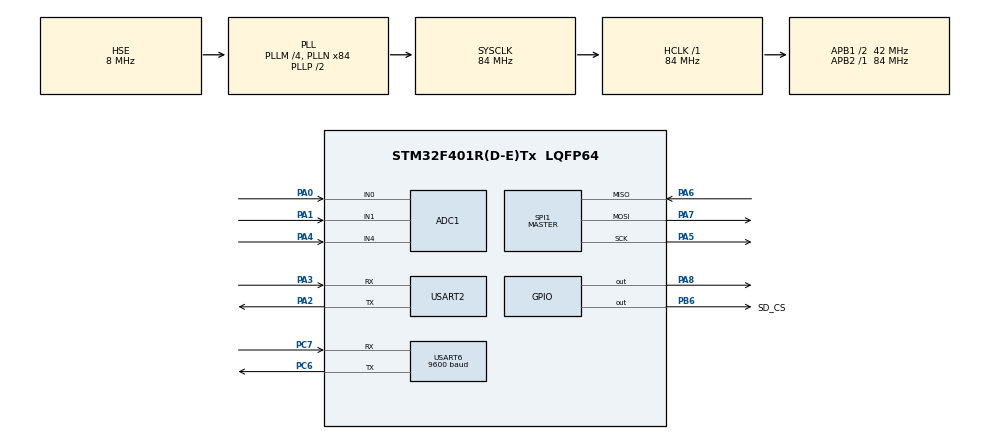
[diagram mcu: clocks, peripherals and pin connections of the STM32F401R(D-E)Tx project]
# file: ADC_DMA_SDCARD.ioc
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ADC1.Channel-1\#ChannelRegularConversion=ADC_CHANNEL_0
ADC1.Channel-2\#ChannelRegularConversion=ADC_CHANNEL_1
ADC1.Channel-3\#ChannelRegularConversion=ADC_CHANNEL_4
ADC1.ContinuousConvMode=DISABLE
ADC1.DMAContinuousRequests=ENABLE
ADC1.EOCSelection=ADC_EOC_SEQ_CONV
ADC1.ExternalTrigConv=ADC_EXTERNALTRIGCONV_T3_TRGO
ADC1.InjNumberOfConversion=0
ADC1.NbrOfConversion=3
ADC1.NbrOfConversionFlag=1
ADC1.Rank-2\#ChannelRegularConversion=2
ADC1.Rank-3\#ChannelRegularConversion=3
ADC1.SamplingTime-1\#ChannelRegularConversion=ADC_SAMPLETIME_56CYCLES
ADC1.SamplingTime-2\#ChannelRegularConversion=ADC_SAMPLETIME_56CYCLES
ADC1.SamplingTime-3\#ChannelRegularConversion=ADC_SAMPLETIME_56CYCLES
ADC1.ScanConvMode=ENABLE
ADC1.master=1
Dma.ADC1.0.Direction=DMA_PERIPH_TO_MEMORY
Dma.ADC1.0.FIFOMode=DMA_FIFOMODE_DISABLE
Dma.ADC1.0.Instance=DMA2_Stream0
Dma.ADC1.0.MemDataAlignment=DMA_MDATAALIGN_WORD
Dma.ADC1.0.MemInc=DMA_MINC_ENABLE
Dma.ADC1.0.Mode=DMA_CIRCULAR
Dma.ADC1.0.PeriphDataAlignment=DMA_PDATAALIGN_WORD
Dma.ADC1.0.PeriphInc=DMA_PINC_DISABLE
Dma.ADC1.0.Priority=DMA_PRIORITY_LOW
Dma.Request0=ADC1
FATFS._FS_LOCK=5
FATFS._FS_TIMEOUT=1000
FATFS._MAX_SS=4096
FATFS._USE_LFN=1
Mcu.Family=STM32F4
Mcu.Name=STM32F401R(D-E)Tx
Mcu.Package=LQFP64
NVIC.ADC_IRQn=true\:0\:0\:false\:false\:true\:true\:true\:true
NVIC.DMA2_Stream0_IRQn=true\:0\:0\:false\:false\:true\:false\:true\:true
NVIC.PriorityGroup=NVIC_PRIORITYGROUP_0
PA0-WKUP.Signal=ADCx_IN0
PA1.Signal=ADCx_IN1
PA13.Mode=Serial_Wire
PA13.Signal=SYS_JTMS-SWDIO
PA14.Mode=Serial_Wire
PA14.Signal=SYS_JTCK-SWCLK
PA2.Mode=Asynchronous
PA2.Signal=USART2_TX
PA3.Mode=Asynchronous
PA3.Signal=USART2_RX
PA4.Signal=ADCx_IN4
PA5.Mode=Full_Duplex_Master
PA5.Signal=SPI1_SCK
PA6.Mode=Full_Duplex_Master
PA6.Signal=SPI1_MISO
PA7.Mode=Full_Duplex_Master
PA7.Signal=SPI1_MOSI
PA8.Signal=GPIO_Output
PB6.GPIO_Label=SD_CS
PB6.GPIO_Speed=GPIO_SPEED_FREQ_HIGH
PB6.PinState=GPIO_PIN_SET
PB6.Signal=GPIO_Output
PC6.Mode=Asynchronous
PC6.Signal=USART6_TX
PC7.Mode=Asynchronous
PC7.Signal=USART6_RX
PH0\ -\ OSC_IN.Mode=HSE-External-Oscillator
PH0\ -\ OSC_IN.Signal=RCC_OSC_IN
PH1\ -\ OSC_OUT.Mode=HSE-External-Oscillator
PH1\ -\ OSC_OUT.Signal=RCC_OSC_OUT
ProjectManager.HeapSize=0x200
ProjectManager.StackSize=0x400
ProjectManager.TargetToolchain=STM32CubeIDE
RCC.48MHZClocksFreq_Value=24000000
RCC.AHBFreq_Value=84000000
RCC.APB1CLKDivider=RCC_HCLK_DIV2
RCC.APB1Freq_Value=42000000
RCC.APB1TimFreq_Value=84000000
RCC.APB2Freq_Value=84000000
RCC.APB2TimFreq_Value=84000000
RCC.CortexFreq_Value=84000000
RCC.HCLKFreq_Value=84000000
RCC.HSE_VALUE=8000000
RCC.HSI_VALUE=16000000
RCC.LSE_VALUE=32768
RCC.PLLM=4
RCC.PLLN=84
RCC.PLLQ=7
RCC.PLLSourceVirtual=RCC_PLLSOURCE_HSE
RCC.SYSCLKFreq_VALUE=84000000
RCC.SYSCLKSource=RCC_SYSCLKSOURCE_PLLCLK
RCC.VCOOutputFreq_Value=168000000
SH.ADCx_IN0.0=ADC1_IN0,IN0
SH.ADCx_IN1.0=ADC1_IN1,IN1
SH.ADCx_IN4.0=ADC1_IN4,IN4
SPI1.BaudRatePrescaler=SPI_BAUDRATEPRESCALER_16
SPI1.Direction=SPI_DIRECTION_2LINES
SPI1.Mode=SPI_MODE_MASTER
SPI1.VirtualType=VM_MASTER
TIM3.Period=100-1
TIM3.Prescaler=840-1
TIM3.TIM_MasterOutputTrigger=TIM_TRGO_UPDATE
USART2.VirtualMode=VM_ASYNC
USART6.BaudRate=9600
USART6.VirtualMode=VM_ASYNC
VP_FATFS_VS_Generic.Mode=User_defined
VP_TIM3_VS_ClockSourceINT.Mode=Internal
board=NUCLEO-F401RE

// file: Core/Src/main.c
/* USER CODE BEGIN Header */
/**
  ******************************************************************************
  * @file           : main.c
  * @brief          : Main program body
  ******************************************************************************
  * @attention
  *
  * Copyright (c) 2023 STMicroelectronics.
  * All rights reserved.
  *
  * This software is licensed under terms that can be found in the LICENSE file
  * in the root directory of this software component.
  * If no LICENSE file comes with this software, it is provided AS-IS.
  *
  ******************************************************************************
  */
/* USER CODE END Header */
#include "main.h"
#include "fatfs.h"

/* USER CODE BEGIN Includes */
#include <string.h>
#include <stdio.h>
#include <stdarg.h>
#include "fatfs_sd.h"
#include "string.h"
#define ARM_MATH_CM4
#include "arm_math.h"
/* USER CODE END Includes */

/* USER CODE BEGIN PD */

#define SampleSize 12288
#define BufferSize 2048

/* USER CODE END PD */

ADC_HandleTypeDef hadc1;
DMA_HandleTypeDef hdma_adc1;

SPI_HandleTypeDef hspi1;

TIM_HandleTypeDef htim3;

UART_HandleTypeDef huart2;
UART_HandleTypeDef huart6;

/* USER CODE BEGIN PV */

#define ADC_VAL_SIZE 24
uint32_t adcVal[ADC_VAL_SIZE];
uint32_t adcFlush[ADC_VAL_SIZE];
double buffer[BufferSize];
unsigned long count=0;
volatile char read_flag=0;
volatile char dist_flag=0;

FATFS fs;
FATFS *pfs;
FIL fil1,fil2,fil3,rawDataFile;
FRESULT fresult;

int bufferIndex = 0;

int fftbufferIndex = 0;
#define FFT_BUFFER_SIZE 2048
#define SAMPLING_RATE 1000
arm_rfft_fast_instance_f32 fftHandler;
float32_t fftBuffIn[FFT_BUFFER_SIZE];
float32_t fftBuffOut[FFT_BUFFER_SIZE];
float32_t outputfft_mag_xAxis[FFT_BUFFER_SIZE/2];
float32_t outputfft_mag_yAxis[FFT_BUFFER_SIZE/2];
float32_t outputfft_mag_zAxis[FFT_BUFFER_SIZE/2];
float32_t outputfft_mag_R[FFT_BUFFER_SIZE/2];
uint8_t fftFlag=0;

/* USER CODE END PV */

void SystemClock_Config(void);
static void MX_GPIO_Init(void);
static void MX_DMA_Init(void);
static void MX_USART2_UART_Init(void);
static void MX_SPI1_Init(void);
static void MX_ADC1_Init(void);
static void MX_USART6_UART_Init(void);
static void MX_TIM3_Init(void);

/* USER CODE BEGIN 0 */

void unlinkFile(const char *fileName) {
 FRESULT  fresult = f_unlink(fileName);
    if (fresult != FR_OK) {
    	send_uart("%s not found\r\n", fileName);
    }
}

double calculateAverage(const double *values, int size) {
    if (size <= 0) {
        return 0.0;  // Return 0 for an empty array or invalid size
    }
    double sum = 0.0;
    for (int i = 0; i < size; i++) {
        sum += values[i];
    }
    return sum / size;
}

void send_uart(const char *format, ...) {
    va_list args;
    va_start(args, format);
    char buffer[1024];
    int len = vsnprintf(buffer, sizeof(buffer), format, args);
    if (len >= 0) {
       HAL_UART_Transmit(&huart2, (uint8_t*)buffer, len, 200);
    }
    va_end(args);
}

void writeToFile(FIL* file, uint32_t* buffer, int size) {
    char fileBuffer[1024];
    char intBuffer[6];
    int counter = 0;
    char* fbPtr = &fileBuffer[0];
    memset(fileBuffer, 0, 1024);
    memset(intBuffer, 0, 6);

    for (int i = 0; i < size; i ++) {
        int c = snprintf(intBuffer, sizeof(intBuffer), "%d\n", (int)buffer[i]);
        if (counter + c > 1024) {
            f_puts(fileBuffer, file);
            counter = 0;
            memset(fileBuffer, 0, 1024);
        }
        memcpy(&fileBuffer[counter], intBuffer, c);
        counter += c;
        fbPtr += c;
    }
    if (counter > 0) {
        f_puts(fileBuffer, file);

 }
}
void distributeDataToFiles(FIL* rawDataFile, FIL* file1, FIL* file2, FIL* file3) {
    FIL* files[3] = {file1, file2, file3};
    char fileBuffers[3][1024];
    int counters[3] = {0, 0, 0};
    char intBuffer[6];

    for (int i = 0; i < 3; i++) {
        memset(fileBuffers[i], 0, 1024);
    }

    char line[12];
    int fileIndex = 0;

    while (f_gets(line, sizeof(line), rawDataFile)) {
        int c = snprintf(intBuffer, sizeof(intBuffer), "%s", line);
        if (counters[fileIndex] + c > 1024) {
            f_puts(fileBuffers[fileIndex], files[fileIndex]);
            counters[fileIndex] = 0;
            memset(fileBuffers[fileIndex], 0, 1024);
        }
        memcpy(&fileBuffers[fileIndex][counters[fileIndex]], intBuffer, c);
        counters[fileIndex] += c;

        fileIndex = (fileIndex + 1) % 3;
    }

    for (int i = 0; i < 3; i++) {
        if (counters[i] > 0) {
            f_puts(fileBuffers[i], files[i]);
        }
    }
}

void HAL_ADC_ConvCpltCallback(ADC_HandleTypeDef* hadc)
 {
	read_flag = 1;
	memcpy(adcFlush,adcVal,ADC_VAL_SIZE*sizeof(uint32_t));
	//HAL_GPIO_TogglePin(GPIOA, GPIO_PIN_8);
 }

void processAndSaveData(const char *inputFileName, const char *outputFileName, double *buffer, int bufferSize, double *totalAverage) {
    FRESULT fresult;
    FIL inputFile, outputFile;
    char line[20];
    int bufferIndex = 0;
    int iterationCount = 0;

    fresult = f_open(&inputFile, inputFileName, FA_READ);
    if (fresult != FR_OK) {
        send_uart("Error opening input file for reading.\r\n");
        return;
    }

    fresult = f_open(&outputFile, outputFileName, FA_CREATE_ALWAYS | FA_WRITE);
    if (fresult != FR_OK) {
        send_uart("Error opening output file for writing.\r\n");
        f_close(&inputFile);
        return;
    }

    while (f_gets(line, sizeof(line), &inputFile) != NULL) {
        double currentSample;
        if (sscanf(line, "%lf", &currentSample) == 1) {
            buffer[bufferIndex] = currentSample;
            bufferIndex++;

            if (bufferIndex == bufferSize) {
                *totalAverage += calculateAverage(buffer, bufferSize);
                bufferIndex = 0;
                iterationCount=iterationCount+1;
            }
        }
    }

    *totalAverage /= iterationCount;

    f_lseek(&inputFile, 0);

    while (f_gets(line, sizeof(line), &inputFile) != NULL) {
        double value;
        if (sscanf(line, "%lf", &value) == 1) {
            double diff = value - *totalAverage;
            snprintf(buffer, bufferSize, "%.3f\n", diff);
            f_puts(buffer, &outputFile);
        }
    }

    f_close(&inputFile);
    f_close(&outputFile);
}

void fftResults(const char *data_file, const char *fft_file, float *outputfft_mag, float *fftBuffIn, float *fftBuffOut, const char *axis) {

 FIL fil1, fil2;
 FRESULT fresult;
 fresult = f_open(&fil1, data_file, FA_OPEN_ALWAYS | FA_READ);
 if (fresult != FR_OK) {
 send_uart("Error opening data file for reading.\r\n");
 return;
 	 }
 	 fresult = f_open(&fil2, fft_file, FA_CREATE_ALWAYS | FA_WRITE);
 	 if (fresult != FR_OK) {
 		 send_uart("Error opening FFT file for writing.\r\n");
 		 f_close(&fil1);
 		 return;
 	 }
 	 char line[20];
 	 int fftbufferIndex = 0;
 	 int dataCount = 0;
 	 while (f_gets(line, sizeof(line), &fil1) != NULL && dataCount < FFT_BUFFER_SIZE) {
 		 double currentfftSample;
 		 if (sscanf(line, "%lf", &currentfftSample) == 1) {
 			 fftBuffIn[fftbufferIndex] = currentfftSample;
 			 fftbufferIndex++;
 			 dataCount++;
 			 if (fftbufferIndex == FFT_BUFFER_SIZE) {
 				 // Perform FFT
 				 arm_rfft_fast_f32(&fftHandler, fftBuffIn, fftBuffOut, 0);
 				 arm_cmplx_mag_f32(fftBuffOut, outputfft_mag, FFT_BUFFER_SIZE / 2);
 				 char fftline[50];
 				 for (int i = 0; i < FFT_BUFFER_SIZE / 2; i++) {
 					 snprintf(fftline, sizeof(fftline), "frequency %.2f: %.2f\n", ((float32_t)(i * SAMPLING_RATE) / FFT_BUFFER_SIZE), outputfft_mag[i]);
 					 f_puts(fftline, &fil2);
 				 }
 				 // Calculate the frequency indices for the range 7 Hz to 75 Hz
 				 float startIndex = (float)(4 * FFT_BUFFER_SIZE / SAMPLING_RATE);
 				 float endIndex = (float)(75 * FFT_BUFFER_SIZE / SAMPLING_RATE);
 				 // Ensure the indices are within bounds
 				 if (startIndex < 0) startIndex = 0;
 				 if (endIndex > FFT_BUFFER_SIZE / 2) endIndex = FFT_BUFFER_SIZE / 2;
 				 // Find the peak value within the specified frequency range (7 to 75 Hz)
 				 float peakVal = 0.0;
 				 int peakIndex = 0;
 				 for (int i = startIndex; i <= endIndex; i++) {
 					 float curVal = outputfft_mag[i];
 					 if (curVal > peakVal) {
 						 peakVal = curVal;
 						 peakIndex = i;
 					 }
 				 }
 				 float peakFrequency = (float32_t)(peakIndex * SAMPLING_RATE) / FFT_BUFFER_SIZE;
 				 // Log the peak value via UART
 				 send_uart("Peak Value for %s: %.3f at Frequency: %.3f Hz\r\n", axis, peakVal, peakFrequency);
 				 // Format the LoRa transmission message
 				 char loraMessage[200];
 				 snprintf(loraMessage, sizeof(loraMessage), "AT+TEST=TXLRSTR,\"%s Peak: %.3f Hz, Value: %.3f\"", axis, peakFrequency, peakVal);
 				 // Send the message via LoRaWAN
 				 sendATCommand(loraMessage);
 				 fftbufferIndex = 0; // Reset buffer index for next FFT
 			 }
 		 }
 	 }
 	 // Close both files
 	 f_close(&fil1);
 	 f_close(&fil2);
	}
void generate_resultant(const char *data_file1, const char *data_file2, const char *add_file) {
    FIL fil1, fil2, add_fil;
    FRESULT fresult;

    // Open the first data file for reading
    fresult = f_open(&fil1, data_file1, FA_OPEN_ALWAYS | FA_READ);
    if (fresult != FR_OK) {
        send_uart("Error opening X-Axis.\r\n");
        return;
    }

    // Open the second data file for reading
    fresult = f_open(&fil2, data_file2, FA_OPEN_ALWAYS | FA_READ);
    if (fresult != FR_OK) {
        send_uart("Error opening Y-Axis.\r\n");
        f_close(&fil1);
        return;
    }

    // Open the third data file for reading
//    fresult = f_open(&fil3, data_file3, FA_OPEN_ALWAYS | FA_READ);
//    if (fresult != FR_OK) {
//        send_uart("Error opening Z-Axis.\r\n");
//        f_close(&fil1);
//        f_close(&fil2);
//        return;
//    }

    // Open the resultant file for writing
    fresult = f_open(&add_fil, add_file, FA_OPEN_ALWAYS | FA_WRITE);
    if (fresult != FR_OK) {
        send_uart("Error opening Resultant file for writing.\r\n");
        f_close(&fil1);
        f_close(&fil2);
   //     f_close(&fil3);
        return;
    }

    char line1[50], line2[50] /*line3[50]*/;
    double mag1, mag2/* mag3*/;

    while (f_gets(line1, sizeof(line1), &fil1) != NULL && f_gets(line2, sizeof(line2), &fil2) != NULL /*&& f_gets(line3, sizeof(line3), &fil3) != NULL*/) {

        sscanf(line1, "%lf", &mag1);
        sscanf(line2, "%lf", &mag2);
//        sscanf(line3, "%lf", &mag3);

        // Calculate and format sum of magnitudes
        double add_mag = sqrt(mag1*mag1 + mag2*mag2/* + mag3*mag3*/);

        char add_mag_str[20]; // Adjust size as needed to accommodate formatted output
        snprintf(add_mag_str, sizeof(add_mag_str), "%.2f\n", (double)add_mag); // Convert double to string with formatting
        f_puts(add_mag_str, &add_fil);
        if (fresult != FR_OK) {
            send_uart("Error writing to resultant.txt.\r\n");
        }
    }

    // Close all files
    f_close(&fil1);
    f_close(&fil2);
//    f_close(&fil3);
    f_close(&add_fil);
}
void sendATCommand(char* command) {
 // Transmit the command to the Wio E5 module via UART6
 HAL_UART_Transmit(&huart6, (uint8_t *)command, strlen(command), HAL_MAX_DELAY);
 // Also print the transmitted command via UART2 for debugging
 HAL_UART_Transmit(&huart2, (uint8_t *)"Transmitted via LoRa: ", strlen("Transmitted via LoRa: "), HAL_MAX_DELAY);
 HAL_UART_Transmit(&huart2, (uint8_t *)command, strlen(command), HAL_MAX_DELAY);
 HAL_UART_Transmit(&huart2, (uint8_t *)"\r\n", strlen("\r\n"), HAL_MAX_DELAY); // Add newline for better readability
}
/* USER CODE END 0 */

int main(void)
{

  /* MCU Configuration--------------------------------------------------------*/

  /* Reset of all peripherals, Initializes the Flash interface and the Systick. */
  HAL_Init();

  /* Configure the system clock */
  SystemClock_Config();

  /* Initialize all configured peripherals */
  MX_GPIO_Init();
  MX_DMA_Init();
  MX_USART2_UART_Init();
  MX_SPI1_Init();
  MX_FATFS_Init();
  MX_ADC1_Init();
  MX_USART6_UART_Init();
  MX_TIM3_Init();
  /* USER CODE BEGIN 2 */
  HAL_Delay(1000);
  sendATCommand("AT+MODE=TEST\r\n"); // Set to LoRa P2P mode
  sendATCommand("AT+FREQ=868000000\r\n"); // Set frequency to 868 MHz (Europe)
  sendATCommand("AT+POWER=14\r\n"); // Set power to 14 dBm
  sendATCommand("AT+PARAMETER=7,7,1,4\r\n"); // Set SF7, BW 125kHz, CR 4/5, Preamble 4

    //Start ADC after timer
  HAL_ADC_Start_DMA(&hadc1, adcVal, ADC_VAL_SIZE);
  HAL_TIM_Base_Start(&htim3);
  arm_rfft_fast_init_f32(&fftHandler, FFT_BUFFER_SIZE);

  fresult = f_mount(&fs, "", 0);
     	  if (fresult != FR_OK) {
     		  send_uart("SD card MOUNT FAILED...\r\n");
     	  } else {
     		  send_uart("\n\rSD card MOUNTED...\r\n");

     		  fresult = f_open(&rawDataFile, "rawData.txt", FA_OPEN_ALWAYS | FA_READ | FA_WRITE);
     		  send_uart("rawData.txt created.\r\n");

  /* USER CODE END 2 */

  /* Infinite loop */
  /* USER CODE BEGIN WHILE */
  while (1)
  {

	  if (read_flag)
	  {
		  writeToFile(&rawDataFile, adcFlush, ADC_VAL_SIZE);
		  count+=ADC_VAL_SIZE;
		  read_flag = 0;
	  }
	    if (count >= SampleSize)
	    {
	    	HAL_ADC_Stop_DMA(&hadc1);
	    	HAL_TIM_Base_Stop(&htim3);
	    	f_close(&rawDataFile);
	    	send_uart("Data acquisition complete!\r\n");
	    	dist_flag = 1;
	    	if (dist_flag){
	    		fresult = f_open(&rawDataFile, "rawData.txt",FA_READ);

	    		fresult = f_open(&fil1, "xAxis.txt", FA_OPEN_ALWAYS | FA_READ | FA_WRITE);
	    		send_uart("xAxis.txt created.\r\n");

	    		fresult = f_open(&fil2, "yAxis.txt", FA_OPEN_ALWAYS | FA_READ | FA_WRITE);
	    		send_uart("yAxis.txt created.\r\n");

	    		fresult = f_open(&fil3, "zAxis.txt", FA_OPEN_ALWAYS | FA_READ | FA_WRITE);
	    		send_uart("zAxis.txt created.\r\n");
	    		distributeDataToFiles(&rawDataFile, &fil1, &fil2, &fil3);
	    		f_close(&rawDataFile);
	    		f_close(&fil1);
	    		f_close(&fil2);
	    		f_close(&fil3);
	    	}

	    	dist_flag=0;
	    	generate_resultant("xAxis.txt", "yAxis.txt"/*, "zAxis.txt"*/, "Resultant.txt");
	    	double totalAverage1 = 0.0;
	    	processAndSaveData("xAxis.txt", "xAxisMWF.txt", buffer, BufferSize, &totalAverage1);
	    	double totalAverage2 = 0.0;
	    	processAndSaveData("yAxis.txt", "yAxisMWF.txt", buffer, BufferSize, &totalAverage2);
	    	double totalAverage3 = 0.0;
	    	processAndSaveData("zAxis.txt", "zAxisMWF.txt", buffer, BufferSize, &totalAverage3);
	    	double totalAverage4 = 0.0;
	    	processAndSaveData("Resultant.txt", "ResultantMWF.txt", buffer, BufferSize, &totalAverage4);
	    	send_uart("FFT preparation complete!\r\n");
	    	fftFlag=1;
				  }

	    if (fftFlag) {
	    	send_uart("Starting FFT and then the transmission...\r\n");
	    	send_uart("Performing FFT on X_Axis!\r\n");
	    	fftResults("xAxisMWF.txt", "xFFT.txt", outputfft_mag_xAxis, fftBuffIn, fftBuffOut, "X_Axis");
	    	send_uart("Performing FFT on Y_Axis!\r\n");
	    	fftResults("yAxisMWF.txt", "yFFT.txt", outputfft_mag_yAxis, fftBuffIn, fftBuffOut, "Y_Axis");
	    	send_uart("Performing FFT on Z_Axis!\r\n");
	    	fftResults("zAxisMWF.txt", "zFFT.txt", outputfft_mag_zAxis, fftBuffIn, fftBuffOut, "Z_Axis");
	    	send_uart("Performing FFT on Resultant!\r\n");
	    	fftResults("ResultantMWF.txt", "rFFT.txt", outputfft_mag_R, fftBuffIn, fftBuffOut, "Resultant");
	    	send_uart("Programme complete!!\r\n");
	    	break;
	  		}
  }
  	  	  }
    /* USER CODE END WHILE */

}

void SystemClock_Config(void)
{
  RCC_OscInitTypeDef RCC_OscInitStruct = {0};
  RCC_ClkInitTypeDef RCC_ClkInitStruct = {0};

  /** Configure the main internal regulator output voltage
  */
  __HAL_RCC_PWR_CLK_ENABLE();
  __HAL_PWR_VOLTAGESCALING_CONFIG(PWR_REGULATOR_VOLTAGE_SCALE2);

  /** Initializes the RCC Oscillators according to the specified parameters
  * in the RCC_OscInitTypeDef structure.
  */
  RCC_OscInitStruct.OscillatorType = RCC_OSCILLATORTYPE_HSE;
  RCC_OscInitStruct.HSEState = RCC_HSE_ON;
  RCC_OscInitStruct.PLL.PLLState = RCC_PLL_ON;
  RCC_OscInitStruct.PLL.PLLSource = RCC_PLLSOURCE_HSE;
  RCC_OscInitStruct.PLL.PLLM = 4;
  RCC_OscInitStruct.PLL.PLLN = 84;
  RCC_OscInitStruct.PLL.PLLP = RCC_PLLP_DIV2;
  RCC_OscInitStruct.PLL.PLLQ = 7;
  if (HAL_RCC_OscConfig(&RCC_OscInitStruct) != HAL_OK)
  {
    Error_Handler();
  }

  /** Initializes the CPU, AHB and APB buses clocks
  */
  RCC_ClkInitStruct.ClockType = RCC_CLOCKTYPE_HCLK|RCC_CLOCKTYPE_SYSCLK
                              |RCC_CLOCKTYPE_PCLK1|RCC_CLOCKTYPE_PCLK2;
  RCC_ClkInitStruct.SYSCLKSource = RCC_SYSCLKSOURCE_PLLCLK;
  RCC_ClkInitStruct.AHBCLKDivider = RCC_SYSCLK_DIV1;
  RCC_ClkInitStruct.APB1CLKDivider = RCC_HCLK_DIV2;
  RCC_ClkInitStruct.APB2CLKDivider = RCC_HCLK_DIV1;

  if (HAL_RCC_ClockConfig(&RCC_ClkInitStruct, FLASH_LATENCY_2) != HAL_OK)
  {
    Error_Handler();
  }
}

static void MX_ADC1_Init(void)
{

  ADC_ChannelConfTypeDef sConfig = {0};

  /** Configure the global features of the ADC (Clock, Resolution, Data Alignment and number of conversion)
  */
  hadc1.Instance = ADC1;
  hadc1.Init.ClockPrescaler = ADC_CLOCK_SYNC_PCLK_DIV4;
  hadc1.Init.Resolution = ADC_RESOLUTION_12B;
  hadc1.Init.ScanConvMode = ENABLE;
  hadc1.Init.ContinuousConvMode = DISABLE;
  hadc1.Init.DiscontinuousConvMode = DISABLE;
  hadc1.Init.ExternalTrigConvEdge = ADC_EXTERNALTRIGCONVEDGE_RISING;
  hadc1.Init.ExternalTrigConv = ADC_EXTERNALTRIGCONV_T3_TRGO;
  hadc1.Init.DataAlign = ADC_DATAALIGN_RIGHT;
  hadc1.Init.NbrOfConversion = 3;
  hadc1.Init.DMAContinuousRequests = ENABLE;
  hadc1.Init.EOCSelection = ADC_EOC_SEQ_CONV;
  if (HAL_ADC_Init(&hadc1) != HAL_OK)
  {
    Error_Handler();
  }

  /** Configure for the selected ADC regular channel its corresponding rank in the sequencer and its sample time.
  */
  sConfig.Channel = ADC_CHANNEL_0;
  sConfig.Rank = 1;
  sConfig.SamplingTime = ADC_SAMPLETIME_56CYCLES;
  if (HAL_ADC_ConfigChannel(&hadc1, &sConfig) != HAL_OK)
  {
    Error_Handler();
  }

  /** Configure for the selected ADC regular channel its corresponding rank in the sequencer and its sample time.
  */
  sConfig.Channel = ADC_CHANNEL_1;
  sConfig.Rank = 2;
  if (HAL_ADC_ConfigChannel(&hadc1, &sConfig) != HAL_OK)
  {
    Error_Handler();
  }

  /** Configure for the selected ADC regular channel its corresponding rank in the sequencer and its sample time.
  */
  sConfig.Channel = ADC_CHANNEL_4;
  sConfig.Rank = 3;
  if (HAL_ADC_ConfigChannel(&hadc1, &sConfig) != HAL_OK)
  {
    Error_Handler();
  }

}

static void MX_SPI1_Init(void)
{

  /* SPI1 parameter configuration*/
  hspi1.Instance = SPI1;
  hspi1.Init.Mode = SPI_MODE_MASTER;
  hspi1.Init.Direction = SPI_DIRECTION_2LINES;
  hspi1.Init.DataSize = SPI_DATASIZE_8BIT;
  hspi1.Init.CLKPolarity = SPI_POLARITY_LOW;
  hspi1.Init.CLKPhase = SPI_PHASE_1EDGE;
  hspi1.Init.NSS = SPI_NSS_SOFT;
  hspi1.Init.BaudRatePrescaler = SPI_BAUDRATEPRESCALER_16;
  hspi1.Init.FirstBit = SPI_FIRSTBIT_MSB;
  hspi1.Init.TIMode = SPI_TIMODE_DISABLE;
  hspi1.Init.CRCCalculation = SPI_CRCCALCULATION_DISABLE;
  hspi1.Init.CRCPolynomial = 10;
  if (HAL_SPI_Init(&hspi1) != HAL_OK)
  {
    Error_Handler();
  }

}

static void MX_TIM3_Init(void)
{

  TIM_ClockConfigTypeDef sClockSourceConfig = {0};
  TIM_MasterConfigTypeDef sMasterConfig = {0};

  htim3.Instance = TIM3;
  htim3.Init.Prescaler = 840-1;
  htim3.Init.CounterMode = TIM_COUNTERMODE_UP;
  htim3.Init.Period = 100-1;
  htim3.Init.ClockDivision = TIM_CLOCKDIVISION_DIV1;
  htim3.Init.AutoReloadPreload = TIM_AUTORELOAD_PRELOAD_DISABLE;
  if (HAL_TIM_Base_Init(&htim3) != HAL_OK)
  {
    Error_Handler();
  }
  sClockSourceConfig.ClockSource = TIM_CLOCKSOURCE_INTERNAL;
  if (HAL_TIM_ConfigClockSource(&htim3, &sClockSourceConfig) != HAL_OK)
  {
    Error_Handler();
  }
  sMasterConfig.MasterOutputTrigger = TIM_TRGO_UPDATE;
  sMasterConfig.MasterSlaveMode = TIM_MASTERSLAVEMODE_DISABLE;
  if (HAL_TIMEx_MasterConfigSynchronization(&htim3, &sMasterConfig) != HAL_OK)
  {
    Error_Handler();
  }

}

static void MX_USART2_UART_Init(void)
{

  huart2.Instance = USART2;
  huart2.Init.BaudRate = 115200;
  huart2.Init.WordLength = UART_WORDLENGTH_8B;
  huart2.Init.StopBits = UART_STOPBITS_1;
  huart2.Init.Parity = UART_PARITY_NONE;
  huart2.Init.Mode = UART_MODE_TX_RX;
  huart2.Init.HwFlowCtl = UART_HWCONTROL_NONE;
  huart2.Init.OverSampling = UART_OVERSAMPLING_16;
  if (HAL_UART_Init(&huart2) != HAL_OK)
  {
    Error_Handler();
  }

}

static void MX_USART6_UART_Init(void)
{

  huart6.Instance = USART6;
  huart6.Init.BaudRate = 9600;
  huart6.Init.WordLength = UART_WORDLENGTH_8B;
  huart6.Init.StopBits = UART_STOPBITS_1;
  huart6.Init.Parity = UART_PARITY_NONE;
  huart6.Init.Mode = UART_MODE_TX_RX;
  huart6.Init.HwFlowCtl = UART_HWCONTROL_NONE;
  huart6.Init.OverSampling = UART_OVERSAMPLING_16;
  if (HAL_UART_Init(&huart6) != HAL_OK)
  {
    Error_Handler();
  }

}

static void MX_DMA_Init(void)
{

  /* DMA controller clock enable */
  __HAL_RCC_DMA2_CLK_ENABLE();

  /* DMA interrupt init */
  /* DMA2_Stream0_IRQn interrupt configuration */
  HAL_NVIC_SetPriority(DMA2_Stream0_IRQn, 0, 0);
  HAL_NVIC_EnableIRQ(DMA2_Stream0_IRQn);

}

static void MX_GPIO_Init(void)
{
  GPIO_InitTypeDef GPIO_InitStruct = {0};

  /* GPIO Ports Clock Enable */
  __HAL_RCC_GPIOH_CLK_ENABLE();
  __HAL_RCC_GPIOA_CLK_ENABLE();
  __HAL_RCC_GPIOC_CLK_ENABLE();
  __HAL_RCC_GPIOB_CLK_ENABLE();

  /*Configure GPIO pin Output Level */
  HAL_GPIO_WritePin(GPIOA, GPIO_PIN_8, GPIO_PIN_RESET);

  /*Configure GPIO pin Output Level */
  HAL_GPIO_WritePin(SD_CS_GPIO_Port, SD_CS_Pin, GPIO_PIN_SET);

  /*Configure GPIO pin : PA8 */
  GPIO_InitStruct.Pin = GPIO_PIN_8;
  GPIO_InitStruct.Mode = GPIO_MODE_OUTPUT_PP;
  GPIO_InitStruct.Pull = GPIO_NOPULL;
  GPIO_InitStruct.Speed = GPIO_SPEED_FREQ_LOW;
  HAL_GPIO_Init(GPIOA, &GPIO_InitStruct);

  /*Configure GPIO pin : SD_CS_Pin */
  GPIO_InitStruct.Pin = SD_CS_Pin;
  GPIO_InitStruct.Mode = GPIO_MODE_OUTPUT_PP;
  GPIO_InitStruct.Pull = GPIO_NOPULL;
  GPIO_InitStruct.Speed = GPIO_SPEED_FREQ_HIGH;
  HAL_GPIO_Init(SD_CS_GPIO_Port, &GPIO_InitStruct);

}

void Error_Handler(void)
{
  __disable_irq();
  while (1)
  {
  }
}
